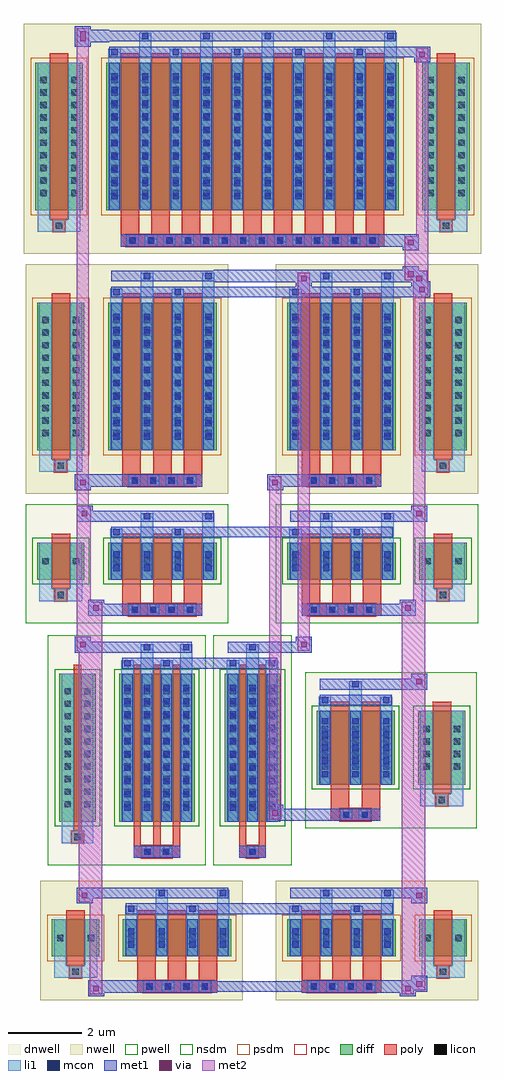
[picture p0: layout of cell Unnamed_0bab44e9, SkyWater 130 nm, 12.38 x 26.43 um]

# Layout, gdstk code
import gdstk
lib = gdstk.Library(unit=1e-6, precision=5e-09)
def R(c, l, rs):  # rectangles x0, y0, x1, y1
    for r in rs: c.add(gdstk.rectangle(r[:2], r[2:], *l))
def A(c, l, x, y, w, h, nx, ny, dx, dy):  # array of equal rectangles
    R(c, l, [(x+i*dx, y+j*dy, x+i*dx+w, y+j*dy+h) for i in range(nx) for j in range(ny)])
def P(c, l, *ps):  # polygons
    for p in ps: c.add(gdstk.Polygon(p, *l))
dnwell = (64, 18)
nwell = (64, 20)
pwell = (64, 44)
diff = (65, 20)
poly = (66, 20)
licon = (66, 44)
li1 = (67, 20)
mcon = (67, 44)
met1 = (68, 20)
via = (68, 44)
met2 = (69, 20)
nsdm = (93, 44)
psdm = (94, 20)
npc = (95, 20)

unnamed_437017c1 = lib.new_cell('Unnamed_437017c1')
R(unnamed_437017c1, nwell, [(-2.74,-1.61,2.74,1.615)])
R(unnamed_437017c1, diff, [(-2.43,-0.43,0.51,0.57), (1.15,-0.43,2.43,0.57)])
A(unnamed_437017c1, poly, -1.875, -1.41, 0.33, 0.33, 4, 1, 0.5, 0)
A(unnamed_437017c1, poly, -2.04, -1.08, 0.5, 0.4, 3, 1, 0.83, 0)
A(unnamed_437017c1, poly, -2.04, -0.68, 0.5, 1.5, 3, 1, 0.83, 0)
R(unnamed_437017c1, poly, [(-2.04,-1.41,0.12,-1.08), (1.625,-1.01,1.955,-0.68), (1.625,-1.01,1.955,-0.68), (1.54,-0.68,2.04,0.82)])
A(unnamed_437017c1, licon, -1.795, -1.33, 0.17, 0.17, 4, 1, 0.5, 0)
A(unnamed_437017c1, licon, -2.29, -0.015, 0.17, 0.17, 4, 1, 0.83, 0)
R(unnamed_437017c1, licon, [(1.705,-0.93,1.875,-0.76), (1.29,-0.015,1.46,0.155), (2.12,-0.015,2.29,0.155)])
A(unnamed_437017c1, li1, -1.875, -1.41, 0.33, 0.33, 4, 1, 0.5, 0)
A(unnamed_437017c1, li1, -2.37, -0.43, 0.33, 1, 4, 1, 0.83, 0)
A(unnamed_437017c1, li1, -2.29, -0.195, 0.17, 0.17, 4, 2, 0.83, 0.36)
A(unnamed_437017c1, li1, -2.29, -0.195, 0.17, 0.53, 4, 1, 0.83, 0)
A(unnamed_437017c1, li1, -2.37, -0.095, 0.33, 0.33, 4, 1, 0.83, 0)
R(unnamed_437017c1, li1, [(1.21,-1.01,1.625,-0.68), (1.21,-1.01,1.54,-0.43), (1.625,-1.01,1.955,-0.68), (1.955,-1.01,2.37,-0.68), (2.04,-1.01,2.37,-0.43), (1.21,-0.43,1.54,0.57), (2.04,-0.43,2.37,0.57), (1.21,-0.095,1.54,0.235), (2.04,-0.095,2.37,0.235), (-2.37,0.57,-2.04,0.945), (-1.54,0.57,-1.21,1.375), (-0.71,0.57,-0.38,0.945), (0.12,0.57,0.45,1.375), (-2.29,0.775,-2.12,0.945), (-0.63,0.775,-0.46,0.945), (-1.46,1.205,-1.29,1.375), (0.2,1.205,0.37,1.375)])
A(unnamed_437017c1, mcon, -1.795, -1.33, 0.17, 0.17, 4, 1, 0.5, 0)
A(unnamed_437017c1, mcon, -2.29, -0.195, 0.17, 0.17, 4, 2, 0.83, 0.36)
R(unnamed_437017c1, mcon, [(-2.29,0.775,-2.12,0.945), (-0.63,0.775,-0.46,0.945), (-1.46,1.205,-1.29,1.375), (0.2,1.205,0.37,1.375)])
A(unnamed_437017c1, met1, -1.855, -1.39, 0.29, 0.29, 4, 1, 0.5, 0)
A(unnamed_437017c1, met1, -2.35, -0.43, 0.29, 1, 4, 1, 0.83, 0)
A(unnamed_437017c1, met1, -2.35, -0.255, 0.29, 0.29, 4, 2, 0.83, 0.36)
R(unnamed_437017c1, met1, [(-2.04,-1.41,0.12,-1.08), (-2.35,0.715,-2.06,1.005), (-2.35,0.715,0.43,1.005), (-0.69,0.715,-0.4,1.005), (-2.35,1.145,0.43,1.435), (-1.52,1.145,-1.23,1.435), (0.14,1.145,0.43,1.435)])
R(unnamed_437017c1, psdm, [(-2.56,-0.56,0.64,0.7), (1.02,-0.56,2.56,0.7)])
A(unnamed_437017c1, npc, -1.895, -1.43, 0.37, 0.37, 4, 1, 0.5, 0)
R(unnamed_437017c1, npc, [(-1.895,-1.43,-1.025,-1.06), (-1.895,-1.43,-1.025,-1.06), (-1.395,-1.43,-0.525,-1.06), (-1.395,-1.43,-0.525,-1.06), (-0.895,-1.43,-0.025,-1.06), (-0.895,-1.43,-0.025,-1.06), (1.605,-1.03,1.975,-0.66)])

unnamed_8c51c6d4 = lib.new_cell('Unnamed_8c51c6d4')
R(unnamed_8c51c6d4, nwell, [(-2.74,-1.61,2.74,1.615)])
R(unnamed_8c51c6d4, diff, [(-2.43,-0.43,-1.15,0.57), (-0.51,-0.43,2.43,0.57)])
A(unnamed_8c51c6d4, poly, 0.045, -1.41, 0.33, 0.33, 4, 1, 0.5, 0)
A(unnamed_8c51c6d4, poly, -0.12, -1.08, 0.5, 0.4, 3, 1, 0.83, 0)
A(unnamed_8c51c6d4, poly, -0.12, -0.68, 0.5, 1.5, 3, 1, 0.83, 0)
R(unnamed_8c51c6d4, poly, [(-0.12,-1.41,2.04,-1.08), (-1.955,-1.01,-1.625,-0.68), (-1.955,-1.01,-1.625,-0.68), (-2.04,-0.68,-1.54,0.82)])
A(unnamed_8c51c6d4, licon, 0.125, -1.33, 0.17, 0.17, 4, 1, 0.5, 0)
A(unnamed_8c51c6d4, licon, -0.37, -0.015, 0.17, 0.17, 4, 1, 0.83, 0)
R(unnamed_8c51c6d4, licon, [(-1.875,-0.93,-1.705,-0.76), (-2.29,-0.015,-2.12,0.155), (-1.46,-0.015,-1.29,0.155)])
A(unnamed_8c51c6d4, li1, 0.045, -1.41, 0.33, 0.33, 4, 1, 0.5, 0)
A(unnamed_8c51c6d4, li1, -0.45, -0.43, 0.33, 1, 4, 1, 0.83, 0)
A(unnamed_8c51c6d4, li1, -0.37, -0.195, 0.17, 0.17, 4, 2, 0.83, 0.36)
A(unnamed_8c51c6d4, li1, -0.37, -0.195, 0.17, 0.53, 4, 1, 0.83, 0)
A(unnamed_8c51c6d4, li1, -0.45, -0.095, 0.33, 0.33, 4, 1, 0.83, 0)
R(unnamed_8c51c6d4, li1, [(-2.37,-1.01,-1.955,-0.68), (-2.37,-1.01,-2.04,-0.43), (-1.955,-1.01,-1.625,-0.68), (-1.625,-1.01,-1.21,-0.68), (-1.54,-1.01,-1.21,-0.43), (-2.37,-0.43,-2.04,0.57), (-1.54,-0.43,-1.21,0.57), (-2.37,-0.095,-2.04,0.235), (-1.54,-0.095,-1.21,0.235), (-0.45,0.57,-0.12,0.945), (0.38,0.57,0.71,1.375), (1.21,0.57,1.54,0.945), (2.04,0.57,2.37,1.375), (-0.37,0.775,-0.2,0.945), (1.29,0.775,1.46,0.945), (0.46,1.205,0.63,1.375), (2.12,1.205,2.29,1.375)])
A(unnamed_8c51c6d4, mcon, 0.125, -1.33, 0.17, 0.17, 4, 1, 0.5, 0)
A(unnamed_8c51c6d4, mcon, -0.37, -0.195, 0.17, 0.17, 4, 2, 0.83, 0.36)
R(unnamed_8c51c6d4, mcon, [(-0.37,0.775,-0.2,0.945), (1.29,0.775,1.46,0.945), (0.46,1.205,0.63,1.375), (2.12,1.205,2.29,1.375)])
A(unnamed_8c51c6d4, met1, 0.065, -1.39, 0.29, 0.29, 4, 1, 0.5, 0)
A(unnamed_8c51c6d4, met1, -0.43, -0.43, 0.29, 1, 4, 1, 0.83, 0)
A(unnamed_8c51c6d4, met1, -0.43, -0.255, 0.29, 0.29, 4, 2, 0.83, 0.36)
R(unnamed_8c51c6d4, met1, [(-0.12,-1.41,2.04,-1.08), (-0.43,0.715,-0.14,1.005), (-0.43,0.715,2.35,1.005), (1.23,0.715,1.52,1.005), (-0.43,1.145,2.35,1.435), (0.4,1.145,0.69,1.435), (2.06,1.145,2.35,1.435)])
R(unnamed_8c51c6d4, psdm, [(-2.56,-0.56,-1.02,0.7), (-0.64,-0.56,2.56,0.7)])
A(unnamed_8c51c6d4, npc, 0.025, -1.43, 0.37, 0.37, 4, 1, 0.5, 0)
R(unnamed_8c51c6d4, npc, [(0.025,-1.43,0.895,-1.06), (0.025,-1.43,0.895,-1.06), (0.525,-1.43,1.395,-1.06), (0.525,-1.43,1.395,-1.06), (1.025,-1.43,1.895,-1.06), (1.025,-1.43,1.895,-1.06), (-1.975,-1.03,-1.605,-0.66)])

unnamed_5b6dac4b = lib.new_cell('Unnamed_5b6dac4b')
R(unnamed_5b6dac4b, nwell, [(-6.19,-3.11,6.19,3.115)])
R(unnamed_5b6dac4b, diff, [(-5.88,-1.93,-4.6,2.07), (-3.96,-1.93,3.96,2.07), (4.6,-1.93,5.88,2.07)])
A(unnamed_5b6dac4b, poly, -3.415, -2.91, 0.33, 0.33, 14, 1, 0.5, 0)
A(unnamed_5b6dac4b, poly, -3.57, -2.58, 0.5, 0.4, 9, 1, 0.83, 0)
A(unnamed_5b6dac4b, poly, -3.57, -2.18, 0.5, 4.5, 9, 1, 0.83, 0)
R(unnamed_5b6dac4b, poly, [(-3.57,-2.91,3.57,-2.58), (-5.405,-2.51,-5.075,-2.18), (-5.405,-2.51,-5.075,-2.18), (5.075,-2.51,5.405,-2.18), (5.075,-2.51,5.405,-2.18), (-5.49,-2.18,-4.99,2.32), (4.99,-2.18,5.49,2.32)])
A(unnamed_5b6dac4b, licon, -3.335, -2.83, 0.17, 0.17, 14, 1, 0.5, 0)
A(unnamed_5b6dac4b, licon, -5.74, -1.545, 0.17, 0.17, 1, 10, 0, 0.34)
A(unnamed_5b6dac4b, licon, -4.91, -1.545, 0.17, 0.17, 1, 10, 0, 0.34)
A(unnamed_5b6dac4b, licon, -3.82, -1.545, 0.17, 0.17, 10, 10, 0.83, 0.34)
A(unnamed_5b6dac4b, licon, 4.74, -1.545, 0.17, 0.17, 1, 10, 0, 0.34)
A(unnamed_5b6dac4b, licon, 5.57, -1.545, 0.17, 0.17, 1, 10, 0, 0.34)
R(unnamed_5b6dac4b, licon, [(-5.325,-2.43,-5.155,-2.26), (5.155,-2.43,5.325,-2.26)])
A(unnamed_5b6dac4b, li1, -3.415, -2.91, 0.33, 0.33, 14, 1, 0.5, 0)
A(unnamed_5b6dac4b, li1, -3.9, -1.93, 0.33, 4, 10, 1, 0.83, 0)
A(unnamed_5b6dac4b, li1, -3.82, -1.635, 0.17, 0.17, 10, 10, 0.83, 0.36)
A(unnamed_5b6dac4b, li1, -3.82, -1.635, 0.17, 3.41, 10, 1, 0.83, 0)
A(unnamed_5b6dac4b, li1, -5.82, -1.625, 0.33, 0.33, 1, 10, 0, 0.34)
A(unnamed_5b6dac4b, li1, -4.99, -1.625, 0.33, 0.33, 1, 10, 0, 0.34)
A(unnamed_5b6dac4b, li1, -3.9, -1.625, 0.33, 0.33, 10, 10, 0.83, 0.34)
A(unnamed_5b6dac4b, li1, 4.66, -1.625, 0.33, 0.33, 1, 10, 0, 0.34)
A(unnamed_5b6dac4b, li1, 5.49, -1.625, 0.33, 0.33, 1, 10, 0, 0.34)
A(unnamed_5b6dac4b, li1, -3.9, 2.07, 0.33, 0.375, 5, 1, 1.66, 0)
A(unnamed_5b6dac4b, li1, -3.07, 2.07, 0.33, 0.805, 5, 1, 1.66, 0)
A(unnamed_5b6dac4b, li1, -3.82, 2.275, 0.17, 0.17, 5, 1, 1.66, 0)
A(unnamed_5b6dac4b, li1, -2.99, 2.705, 0.17, 0.17, 5, 1, 1.66, 0)
R(unnamed_5b6dac4b, li1, [(-5.82,-2.51,-5.405,-2.18), (-5.82,-2.51,-5.49,-1.93), (-5.405,-2.51,-5.075,-2.18), (-5.075,-2.51,-4.66,-2.18), (-4.99,-2.51,-4.66,-1.93), (4.66,-2.51,5.075,-2.18), (4.66,-2.51,4.99,-1.93), (5.075,-2.51,5.405,-2.18), (5.405,-2.51,5.82,-2.18), (5.49,-2.51,5.82,-1.93), (-5.82,-1.93,-5.49,2.07), (-4.99,-1.93,-4.66,2.07), (4.66,-1.93,4.99,2.07), (5.49,-1.93,5.82,2.07)])
A(unnamed_5b6dac4b, mcon, -3.335, -2.83, 0.17, 0.17, 14, 1, 0.5, 0)
A(unnamed_5b6dac4b, mcon, -3.82, -1.635, 0.17, 0.17, 10, 10, 0.83, 0.36)
A(unnamed_5b6dac4b, mcon, -3.82, 2.275, 0.17, 0.17, 5, 1, 1.66, 0)
A(unnamed_5b6dac4b, mcon, -2.99, 2.705, 0.17, 0.17, 5, 1, 1.66, 0)
A(unnamed_5b6dac4b, met1, -3.395, -2.89, 0.29, 0.29, 14, 1, 0.5, 0)
A(unnamed_5b6dac4b, met1, -3.88, -1.93, 0.29, 4, 10, 1, 0.83, 0)
A(unnamed_5b6dac4b, met1, -3.88, -1.695, 0.29, 0.29, 10, 10, 0.83, 0.36)
A(unnamed_5b6dac4b, met1, -3.88, 2.215, 0.29, 0.29, 5, 1, 1.66, 0)
A(unnamed_5b6dac4b, met1, -3.05, 2.645, 0.29, 0.29, 5, 1, 1.66, 0)
R(unnamed_5b6dac4b, met1, [(-3.57,-2.91,3.57,-2.58), (-3.88,2.215,3.88,2.505), (-3.88,2.645,3.88,2.935)])
R(unnamed_5b6dac4b, psdm, [(-6.01,-2.06,-4.47,2.2), (-4.09,-2.06,4.09,2.2), (4.47,-2.06,6.01,2.2)])
A(unnamed_5b6dac4b, npc, -3.435, -2.93, 0.37, 0.37, 14, 1, 0.5, 0)
R(unnamed_5b6dac4b, npc, [(-3.435,-2.93,-2.565,-2.56), (-3.435,-2.93,-2.565,-2.56), (-2.935,-2.93,-2.065,-2.56), (-2.935,-2.93,-2.065,-2.56), (-2.435,-2.93,-1.565,-2.56), (-2.435,-2.93,-1.565,-2.56), (-1.935,-2.93,-1.065,-2.56), (-1.935,-2.93,-1.065,-2.56), (-1.435,-2.93,-0.565,-2.56), (-1.435,-2.93,-0.565,-2.56), (-0.935,-2.93,-0.065,-2.56), (-0.935,-2.93,-0.065,-2.56), (-0.435,-2.93,0.435,-2.56), (-0.435,-2.93,0.435,-2.56), (0.065,-2.93,0.935,-2.56), (0.065,-2.93,0.935,-2.56), (0.565,-2.93,1.435,-2.56), (0.565,-2.93,1.435,-2.56), (1.065,-2.93,1.935,-2.56), (1.065,-2.93,1.935,-2.56), (1.565,-2.93,2.435,-2.56), (1.565,-2.93,2.435,-2.56), (2.065,-2.93,2.935,-2.56), (2.065,-2.93,2.935,-2.56), (2.565,-2.93,3.435,-2.56), (2.565,-2.93,3.435,-2.56), (-5.425,-2.53,-5.055,-2.16), (5.055,-2.53,5.425,-2.16)])

unnamed_7eadcfe6 = lib.new_cell('Unnamed_7eadcfe6')
R(unnamed_7eadcfe6, nwell, [(-2.74,-3.11,2.74,3.115)])
R(unnamed_7eadcfe6, diff, [(-2.43,-1.93,-1.15,2.07), (-0.51,-1.93,2.43,2.07)])
A(unnamed_7eadcfe6, poly, 0.045, -2.91, 0.33, 0.33, 4, 1, 0.5, 0)
A(unnamed_7eadcfe6, poly, -0.12, -2.58, 0.5, 0.4, 3, 1, 0.83, 0)
A(unnamed_7eadcfe6, poly, -0.12, -2.18, 0.5, 4.5, 3, 1, 0.83, 0)
R(unnamed_7eadcfe6, poly, [(-0.12,-2.91,2.04,-2.58), (-1.955,-2.51,-1.625,-2.18), (-1.955,-2.51,-1.625,-2.18), (-2.04,-2.18,-1.54,2.32)])
A(unnamed_7eadcfe6, licon, 0.125, -2.83, 0.17, 0.17, 4, 1, 0.5, 0)
A(unnamed_7eadcfe6, licon, -2.29, -1.545, 0.17, 0.17, 1, 10, 0, 0.34)
A(unnamed_7eadcfe6, licon, -1.46, -1.545, 0.17, 0.17, 1, 10, 0, 0.34)
A(unnamed_7eadcfe6, licon, -0.37, -1.545, 0.17, 0.17, 4, 10, 0.83, 0.34)
R(unnamed_7eadcfe6, licon, [(-1.875,-2.43,-1.705,-2.26)])
A(unnamed_7eadcfe6, li1, 0.045, -2.91, 0.33, 0.33, 4, 1, 0.5, 0)
A(unnamed_7eadcfe6, li1, -0.45, -1.93, 0.33, 4, 4, 1, 0.83, 0)
A(unnamed_7eadcfe6, li1, -0.37, -1.635, 0.17, 0.17, 4, 10, 0.83, 0.36)
A(unnamed_7eadcfe6, li1, -0.37, -1.635, 0.17, 3.41, 4, 1, 0.83, 0)
A(unnamed_7eadcfe6, li1, -2.37, -1.625, 0.33, 0.33, 1, 10, 0, 0.34)
A(unnamed_7eadcfe6, li1, -1.54, -1.625, 0.33, 0.33, 1, 10, 0, 0.34)
A(unnamed_7eadcfe6, li1, -0.45, -1.625, 0.33, 0.33, 4, 10, 0.83, 0.34)
R(unnamed_7eadcfe6, li1, [(-2.37,-2.51,-1.955,-2.18), (-2.37,-2.51,-2.04,-1.93), (-1.955,-2.51,-1.625,-2.18), (-1.625,-2.51,-1.21,-2.18), (-1.54,-2.51,-1.21,-1.93), (-2.37,-1.93,-2.04,2.07), (-1.54,-1.93,-1.21,2.07), (-0.45,2.07,-0.12,2.445), (0.38,2.07,0.71,2.875), (1.21,2.07,1.54,2.445), (2.04,2.07,2.37,2.875), (-0.37,2.275,-0.2,2.445), (1.29,2.275,1.46,2.445), (0.46,2.705,0.63,2.875), (2.12,2.705,2.29,2.875)])
A(unnamed_7eadcfe6, mcon, 0.125, -2.83, 0.17, 0.17, 4, 1, 0.5, 0)
A(unnamed_7eadcfe6, mcon, -0.37, -1.635, 0.17, 0.17, 4, 10, 0.83, 0.36)
R(unnamed_7eadcfe6, mcon, [(-0.37,2.275,-0.2,2.445), (1.29,2.275,1.46,2.445), (0.46,2.705,0.63,2.875), (2.12,2.705,2.29,2.875)])
A(unnamed_7eadcfe6, met1, 0.065, -2.89, 0.29, 0.29, 4, 1, 0.5, 0)
A(unnamed_7eadcfe6, met1, -0.43, -1.93, 0.29, 4, 4, 1, 0.83, 0)
A(unnamed_7eadcfe6, met1, -0.43, -1.695, 0.29, 0.29, 4, 10, 0.83, 0.36)
R(unnamed_7eadcfe6, met1, [(-0.12,-2.91,2.04,-2.58), (-0.43,2.215,-0.14,2.505), (-0.43,2.215,2.35,2.505), (1.23,2.215,1.52,2.505), (-0.43,2.645,2.35,2.935), (0.4,2.645,0.69,2.935), (2.06,2.645,2.35,2.935)])
R(unnamed_7eadcfe6, psdm, [(-2.56,-2.06,-1.02,2.2), (-0.64,-2.06,2.56,2.2)])
A(unnamed_7eadcfe6, npc, 0.025, -2.93, 0.37, 0.37, 4, 1, 0.5, 0)
R(unnamed_7eadcfe6, npc, [(0.025,-2.93,0.895,-2.56), (0.025,-2.93,0.895,-2.56), (0.525,-2.93,1.395,-2.56), (0.525,-2.93,1.395,-2.56), (1.025,-2.93,1.895,-2.56), (1.025,-2.93,1.895,-2.56), (-1.975,-2.53,-1.605,-2.16)])

unnamed_24d898cb = lib.new_cell('Unnamed_24d898cb')
R(unnamed_24d898cb, nwell, [(-2.74,-3.11,2.74,3.115)])
R(unnamed_24d898cb, diff, [(-2.43,-1.93,0.51,2.07), (1.15,-1.93,2.43,2.07)])
A(unnamed_24d898cb, poly, -1.875, -2.91, 0.33, 0.33, 4, 1, 0.5, 0)
A(unnamed_24d898cb, poly, -2.04, -2.58, 0.5, 0.4, 3, 1, 0.83, 0)
A(unnamed_24d898cb, poly, -2.04, -2.18, 0.5, 4.5, 3, 1, 0.83, 0)
R(unnamed_24d898cb, poly, [(-2.04,-2.91,0.12,-2.58), (1.625,-2.51,1.955,-2.18), (1.625,-2.51,1.955,-2.18), (1.54,-2.18,2.04,2.32)])
A(unnamed_24d898cb, licon, -1.795, -2.83, 0.17, 0.17, 4, 1, 0.5, 0)
A(unnamed_24d898cb, licon, -2.29, -1.545, 0.17, 0.17, 4, 10, 0.83, 0.34)
A(unnamed_24d898cb, licon, 1.29, -1.545, 0.17, 0.17, 1, 10, 0, 0.34)
A(unnamed_24d898cb, licon, 2.12, -1.545, 0.17, 0.17, 1, 10, 0, 0.34)
R(unnamed_24d898cb, licon, [(1.705,-2.43,1.875,-2.26)])
A(unnamed_24d898cb, li1, -1.875, -2.91, 0.33, 0.33, 4, 1, 0.5, 0)
A(unnamed_24d898cb, li1, -2.37, -1.93, 0.33, 4, 4, 1, 0.83, 0)
A(unnamed_24d898cb, li1, -2.29, -1.635, 0.17, 0.17, 4, 10, 0.83, 0.36)
A(unnamed_24d898cb, li1, -2.29, -1.635, 0.17, 3.41, 4, 1, 0.83, 0)
A(unnamed_24d898cb, li1, -2.37, -1.625, 0.33, 0.33, 4, 10, 0.83, 0.34)
A(unnamed_24d898cb, li1, 1.21, -1.625, 0.33, 0.33, 1, 10, 0, 0.34)
A(unnamed_24d898cb, li1, 2.04, -1.625, 0.33, 0.33, 1, 10, 0, 0.34)
R(unnamed_24d898cb, li1, [(1.21,-2.51,1.625,-2.18), (1.21,-2.51,1.54,-1.93), (1.625,-2.51,1.955,-2.18), (1.955,-2.51,2.37,-2.18), (2.04,-2.51,2.37,-1.93), (1.21,-1.93,1.54,2.07), (2.04,-1.93,2.37,2.07), (-2.37,2.07,-2.04,2.445), (-1.54,2.07,-1.21,2.875), (-0.71,2.07,-0.38,2.445), (0.12,2.07,0.45,2.875), (-2.29,2.275,-2.12,2.445), (-0.63,2.275,-0.46,2.445), (-1.46,2.705,-1.29,2.875), (0.2,2.705,0.37,2.875)])
A(unnamed_24d898cb, mcon, -1.795, -2.83, 0.17, 0.17, 4, 1, 0.5, 0)
A(unnamed_24d898cb, mcon, -2.29, -1.635, 0.17, 0.17, 4, 10, 0.83, 0.36)
R(unnamed_24d898cb, mcon, [(-2.29,2.275,-2.12,2.445), (-0.63,2.275,-0.46,2.445), (-1.46,2.705,-1.29,2.875), (0.2,2.705,0.37,2.875)])
A(unnamed_24d898cb, met1, -1.855, -2.89, 0.29, 0.29, 4, 1, 0.5, 0)
A(unnamed_24d898cb, met1, -2.35, -1.93, 0.29, 4, 4, 1, 0.83, 0)
A(unnamed_24d898cb, met1, -2.35, -1.695, 0.29, 0.29, 4, 10, 0.83, 0.36)
R(unnamed_24d898cb, met1, [(-2.04,-2.91,0.12,-2.58), (-2.35,2.215,-2.06,2.505), (-2.35,2.215,0.43,2.505), (-0.69,2.215,-0.4,2.505), (-2.35,2.645,0.43,2.935), (-1.52,2.645,-1.23,2.935), (0.14,2.645,0.43,2.935)])
R(unnamed_24d898cb, psdm, [(-2.56,-2.06,0.64,2.2), (1.02,-2.06,2.56,2.2)])
A(unnamed_24d898cb, npc, -1.895, -2.93, 0.37, 0.37, 4, 1, 0.5, 0)
R(unnamed_24d898cb, npc, [(-1.895,-2.93,-1.025,-2.56), (-1.895,-2.93,-1.025,-2.56), (-1.395,-2.93,-0.525,-2.56), (-1.395,-2.93,-0.525,-2.56), (-0.895,-2.93,-0.025,-2.56), (-0.895,-2.93,-0.025,-2.56), (1.605,-2.53,1.975,-2.16)])

unnamed_885ce8a8 = lib.new_cell('Unnamed_885ce8a8')
R(unnamed_885ce8a8, dnwell, [(-2.74,-1.61,2.74,1.615)])
R(unnamed_885ce8a8, pwell, [(-2.74,-1.61,2.74,1.615)])
R(unnamed_885ce8a8, diff, [(-2.43,-0.43,0.51,0.57), (1.15,-0.43,2.43,0.57)])
A(unnamed_885ce8a8, poly, -1.875, -1.41, 0.33, 0.33, 4, 1, 0.5, 0)
A(unnamed_885ce8a8, poly, -2.04, -1.08, 0.5, 0.4, 3, 1, 0.83, 0)
A(unnamed_885ce8a8, poly, -2.04, -0.68, 0.5, 1.5, 3, 1, 0.83, 0)
R(unnamed_885ce8a8, poly, [(-2.04,-1.41,0.12,-1.08), (1.625,-1.01,1.955,-0.68), (1.625,-1.01,1.955,-0.68), (1.54,-0.68,2.04,0.82)])
A(unnamed_885ce8a8, licon, -1.795, -1.33, 0.17, 0.17, 4, 1, 0.5, 0)
A(unnamed_885ce8a8, licon, -2.29, -0.015, 0.17, 0.17, 4, 1, 0.83, 0)
R(unnamed_885ce8a8, licon, [(1.705,-0.93,1.875,-0.76), (1.29,-0.015,1.46,0.155), (2.12,-0.015,2.29,0.155)])
A(unnamed_885ce8a8, li1, -1.875, -1.41, 0.33, 0.33, 4, 1, 0.5, 0)
A(unnamed_885ce8a8, li1, -2.37, -0.43, 0.33, 1, 4, 1, 0.83, 0)
A(unnamed_885ce8a8, li1, -2.29, -0.195, 0.17, 0.17, 4, 2, 0.83, 0.36)
A(unnamed_885ce8a8, li1, -2.29, -0.195, 0.17, 0.53, 4, 1, 0.83, 0)
A(unnamed_885ce8a8, li1, -2.37, -0.095, 0.33, 0.33, 4, 1, 0.83, 0)
R(unnamed_885ce8a8, li1, [(1.21,-1.01,1.625,-0.68), (1.21,-1.01,1.54,-0.43), (1.625,-1.01,1.955,-0.68), (1.955,-1.01,2.37,-0.68), (2.04,-1.01,2.37,-0.43), (1.21,-0.43,1.54,0.57), (2.04,-0.43,2.37,0.57), (1.21,-0.095,1.54,0.235), (2.04,-0.095,2.37,0.235), (-2.37,0.57,-2.04,0.945), (-1.54,0.57,-1.21,1.375), (-0.71,0.57,-0.38,0.945), (0.12,0.57,0.45,1.375), (-2.29,0.775,-2.12,0.945), (-0.63,0.775,-0.46,0.945), (-1.46,1.205,-1.29,1.375), (0.2,1.205,0.37,1.375)])
A(unnamed_885ce8a8, mcon, -1.795, -1.33, 0.17, 0.17, 4, 1, 0.5, 0)
A(unnamed_885ce8a8, mcon, -2.29, -0.195, 0.17, 0.17, 4, 2, 0.83, 0.36)
R(unnamed_885ce8a8, mcon, [(-2.29,0.775,-2.12,0.945), (-0.63,0.775,-0.46,0.945), (-1.46,1.205,-1.29,1.375), (0.2,1.205,0.37,1.375)])
A(unnamed_885ce8a8, met1, -1.855, -1.39, 0.29, 0.29, 4, 1, 0.5, 0)
A(unnamed_885ce8a8, met1, -2.35, -0.43, 0.29, 1, 4, 1, 0.83, 0)
A(unnamed_885ce8a8, met1, -2.35, -0.255, 0.29, 0.29, 4, 2, 0.83, 0.36)
R(unnamed_885ce8a8, met1, [(-2.04,-1.41,0.12,-1.08), (-2.35,0.715,-2.06,1.005), (-2.35,0.715,0.43,1.005), (-0.69,0.715,-0.4,1.005), (-2.35,1.145,0.43,1.435), (-1.52,1.145,-1.23,1.435), (0.14,1.145,0.43,1.435)])
R(unnamed_885ce8a8, nsdm, [(-2.56,-0.56,0.64,0.7), (1.02,-0.56,2.56,0.7)])
A(unnamed_885ce8a8, npc, -1.895, -1.43, 0.37, 0.37, 4, 1, 0.5, 0)
R(unnamed_885ce8a8, npc, [(-1.895,-1.43,-1.025,-1.06), (-1.895,-1.43,-1.025,-1.06), (-1.395,-1.43,-0.525,-1.06), (-1.395,-1.43,-0.525,-1.06), (-0.895,-1.43,-0.025,-1.06), (-0.895,-1.43,-0.025,-1.06), (1.605,-1.03,1.975,-0.66)])

unnamed_369809fc = lib.new_cell('Unnamed_369809fc')
R(unnamed_369809fc, dnwell, [(-2.74,-1.61,2.74,1.615)])
R(unnamed_369809fc, pwell, [(-2.74,-1.61,2.74,1.615)])
R(unnamed_369809fc, diff, [(-2.43,-0.43,-1.15,0.57), (-0.51,-0.43,2.43,0.57)])
A(unnamed_369809fc, poly, 0.045, -1.41, 0.33, 0.33, 4, 1, 0.5, 0)
A(unnamed_369809fc, poly, -0.12, -1.08, 0.5, 0.4, 3, 1, 0.83, 0)
A(unnamed_369809fc, poly, -0.12, -0.68, 0.5, 1.5, 3, 1, 0.83, 0)
R(unnamed_369809fc, poly, [(-0.12,-1.41,2.04,-1.08), (-1.955,-1.01,-1.625,-0.68), (-1.955,-1.01,-1.625,-0.68), (-2.04,-0.68,-1.54,0.82)])
A(unnamed_369809fc, licon, 0.125, -1.33, 0.17, 0.17, 4, 1, 0.5, 0)
A(unnamed_369809fc, licon, -0.37, -0.015, 0.17, 0.17, 4, 1, 0.83, 0)
R(unnamed_369809fc, licon, [(-1.875,-0.93,-1.705,-0.76), (-2.29,-0.015,-2.12,0.155), (-1.46,-0.015,-1.29,0.155)])
A(unnamed_369809fc, li1, 0.045, -1.41, 0.33, 0.33, 4, 1, 0.5, 0)
A(unnamed_369809fc, li1, -0.45, -0.43, 0.33, 1, 4, 1, 0.83, 0)
A(unnamed_369809fc, li1, -0.37, -0.195, 0.17, 0.17, 4, 2, 0.83, 0.36)
A(unnamed_369809fc, li1, -0.37, -0.195, 0.17, 0.53, 4, 1, 0.83, 0)
A(unnamed_369809fc, li1, -0.45, -0.095, 0.33, 0.33, 4, 1, 0.83, 0)
R(unnamed_369809fc, li1, [(-2.37,-1.01,-1.955,-0.68), (-2.37,-1.01,-2.04,-0.43), (-1.955,-1.01,-1.625,-0.68), (-1.625,-1.01,-1.21,-0.68), (-1.54,-1.01,-1.21,-0.43), (-2.37,-0.43,-2.04,0.57), (-1.54,-0.43,-1.21,0.57), (-2.37,-0.095,-2.04,0.235), (-1.54,-0.095,-1.21,0.235), (-0.45,0.57,-0.12,0.945), (0.38,0.57,0.71,1.375), (1.21,0.57,1.54,0.945), (2.04,0.57,2.37,1.375), (-0.37,0.775,-0.2,0.945), (1.29,0.775,1.46,0.945), (0.46,1.205,0.63,1.375), (2.12,1.205,2.29,1.375)])
A(unnamed_369809fc, mcon, 0.125, -1.33, 0.17, 0.17, 4, 1, 0.5, 0)
A(unnamed_369809fc, mcon, -0.37, -0.195, 0.17, 0.17, 4, 2, 0.83, 0.36)
R(unnamed_369809fc, mcon, [(-0.37,0.775,-0.2,0.945), (1.29,0.775,1.46,0.945), (0.46,1.205,0.63,1.375), (2.12,1.205,2.29,1.375)])
A(unnamed_369809fc, met1, 0.065, -1.39, 0.29, 0.29, 4, 1, 0.5, 0)
A(unnamed_369809fc, met1, -0.43, -0.43, 0.29, 1, 4, 1, 0.83, 0)
A(unnamed_369809fc, met1, -0.43, -0.255, 0.29, 0.29, 4, 2, 0.83, 0.36)
R(unnamed_369809fc, met1, [(-0.12,-1.41,2.04,-1.08), (-0.43,0.715,-0.14,1.005), (-0.43,0.715,2.35,1.005), (1.23,0.715,1.52,1.005), (-0.43,1.145,2.35,1.435), (0.4,1.145,0.69,1.435), (2.06,1.145,2.35,1.435)])
R(unnamed_369809fc, nsdm, [(-2.56,-0.56,-1.02,0.7), (-0.64,-0.56,2.56,0.7)])
A(unnamed_369809fc, npc, 0.025, -1.43, 0.37, 0.37, 4, 1, 0.5, 0)
R(unnamed_369809fc, npc, [(0.025,-1.43,0.895,-1.06), (0.025,-1.43,0.895,-1.06), (0.525,-1.43,1.395,-1.06), (0.525,-1.43,1.395,-1.06), (1.025,-1.43,1.895,-1.06), (1.025,-1.43,1.895,-1.06), (-1.975,-1.03,-1.605,-0.66)])

unnamed_5aa869f9 = lib.new_cell('Unnamed_5aa869f9')
R(unnamed_5aa869f9, dnwell, [(-2.14,-3.11,2.14,3.115)])
R(unnamed_5aa869f9, pwell, [(-2.14,-3.11,2.14,3.115)])
R(unnamed_5aa869f9, diff, [(-1.83,-1.93,-0.85,2.07), (-0.21,-1.93,1.83,2.07)])
A(unnamed_5aa869f9, poly, 0.18, -2.58, 0.2, 0.4, 3, 1, 0.53, 0)
A(unnamed_5aa869f9, poly, 0.18, -2.18, 0.2, 4.5, 3, 1, 0.53, 0)
R(unnamed_5aa869f9, poly, [(0.18,-2.91,1.44,-2.58), (0.395,-2.91,0.725,-2.58), (0.895,-2.91,1.225,-2.58), (-1.505,-2.51,-1.175,-2.18), (-1.505,-2.51,-1.175,-2.18), (-1.44,-2.18,-1.24,2.32)])
A(unnamed_5aa869f9, licon, -1.69, -1.545, 0.17, 0.17, 1, 10, 0, 0.34)
A(unnamed_5aa869f9, licon, -1.16, -1.545, 0.17, 0.17, 1, 10, 0, 0.34)
A(unnamed_5aa869f9, licon, -0.07, -1.545, 0.17, 0.17, 4, 10, 0.53, 0.34)
R(unnamed_5aa869f9, licon, [(0.475,-2.83,0.645,-2.66), (0.975,-2.83,1.145,-2.66), (-1.425,-2.43,-1.255,-2.26)])
A(unnamed_5aa869f9, li1, -0.15, -1.93, 0.33, 4, 4, 1, 0.53, 0)
A(unnamed_5aa869f9, li1, -0.07, -1.635, 0.17, 0.17, 4, 10, 0.53, 0.36)
A(unnamed_5aa869f9, li1, -0.07, -1.635, 0.17, 3.41, 4, 1, 0.53, 0)
A(unnamed_5aa869f9, li1, -1.77, -1.625, 0.33, 0.33, 1, 10, 0, 0.34)
A(unnamed_5aa869f9, li1, -1.24, -1.625, 0.33, 0.33, 1, 10, 0, 0.34)
A(unnamed_5aa869f9, li1, -0.15, -1.625, 0.33, 0.33, 4, 10, 0.53, 0.34)
R(unnamed_5aa869f9, li1, [(0.395,-2.91,0.725,-2.58), (0.895,-2.91,1.225,-2.58), (-1.77,-2.51,-1.505,-2.18), (-1.77,-2.51,-1.44,-1.93), (-1.505,-2.51,-1.175,-2.18), (-1.24,-2.51,-0.91,-1.93), (-1.175,-2.51,-0.91,-2.18), (-1.77,-1.93,-1.44,2.07), (-1.24,-1.93,-0.91,2.07), (-0.15,2.07,0.18,2.445), (0.38,2.07,0.71,2.875), (0.91,2.07,1.24,2.445), (1.44,2.07,1.77,2.875), (-0.07,2.275,0.1,2.445), (0.99,2.275,1.16,2.445), (0.46,2.705,0.63,2.875), (1.52,2.705,1.69,2.875)])
A(unnamed_5aa869f9, mcon, -0.07, -1.635, 0.17, 0.17, 4, 10, 0.53, 0.36)
R(unnamed_5aa869f9, mcon, [(0.475,-2.83,0.645,-2.66), (0.975,-2.83,1.145,-2.66), (-0.07,2.275,0.1,2.445), (0.99,2.275,1.16,2.445), (0.46,2.705,0.63,2.875), (1.52,2.705,1.69,2.875)])
A(unnamed_5aa869f9, met1, -0.13, -1.93, 0.29, 4, 4, 1, 0.53, 0)
A(unnamed_5aa869f9, met1, -0.13, -1.695, 0.29, 0.29, 4, 10, 0.53, 0.36)
R(unnamed_5aa869f9, met1, [(0.18,-2.91,1.44,-2.58), (0.415,-2.89,0.705,-2.6), (0.915,-2.89,1.205,-2.6), (-0.13,2.215,0.16,2.505), (-0.13,2.215,1.75,2.505), (0.93,2.215,1.22,2.505), (-0.13,2.645,1.75,2.935), (0.4,2.645,0.69,2.935), (1.46,2.645,1.75,2.935)])
R(unnamed_5aa869f9, nsdm, [(-1.96,-2.06,-0.72,2.2), (-0.34,-2.06,1.96,2.2)])
R(unnamed_5aa869f9, npc, [(0.375,-2.93,0.745,-2.56), (0.375,-2.93,1.245,-2.56), (0.375,-2.93,1.245,-2.56), (0.875,-2.93,1.245,-2.56), (-1.525,-2.53,-1.155,-2.16)])

unnamed_cba84e64 = lib.new_cell('Unnamed_cba84e64')
R(unnamed_cba84e64, dnwell, [(-1.065,-3.11,1.065,3.115)])
R(unnamed_cba84e64, pwell, [(-1.065,-3.11,1.065,3.115)])
R(unnamed_cba84e64, diff, [(-0.755,-1.93,0.755,2.07)])
R(unnamed_cba84e64, poly, [(-0.365,-2.91,0.365,-2.58), (-0.165,-2.91,0.165,-2.58), (-0.365,-2.58,-0.165,-2.18), (0.165,-2.58,0.365,-2.18), (-0.365,-2.18,-0.165,2.32), (0.165,-2.18,0.365,2.32)])
A(unnamed_cba84e64, licon, -0.615, -1.545, 0.17, 0.17, 3, 10, 0.53, 0.34)
R(unnamed_cba84e64, licon, [(-0.085,-2.83,0.085,-2.66)])
A(unnamed_cba84e64, li1, -0.695, -1.93, 0.33, 4, 3, 1, 0.53, 0)
A(unnamed_cba84e64, li1, -0.615, -1.635, 0.17, 0.17, 3, 10, 0.53, 0.36)
A(unnamed_cba84e64, li1, -0.615, -1.635, 0.17, 3.41, 3, 1, 0.53, 0)
A(unnamed_cba84e64, li1, -0.695, -1.625, 0.33, 0.33, 3, 10, 0.53, 0.34)
R(unnamed_cba84e64, li1, [(-0.165,-2.91,0.165,-2.58), (-0.695,2.07,-0.365,2.445), (-0.165,2.07,0.165,2.875), (0.365,2.07,0.695,2.445), (-0.615,2.275,-0.445,2.445), (0.445,2.275,0.615,2.445), (-0.085,2.705,0.085,2.875)])
A(unnamed_cba84e64, mcon, -0.615, -1.635, 0.17, 0.17, 3, 10, 0.53, 0.36)
R(unnamed_cba84e64, mcon, [(-0.085,-2.83,0.085,-2.66), (-0.615,2.275,-0.445,2.445), (0.445,2.275,0.615,2.445), (-0.085,2.705,0.085,2.875)])
A(unnamed_cba84e64, met1, -0.675, -1.93, 0.29, 4, 3, 1, 0.53, 0)
A(unnamed_cba84e64, met1, -0.675, -1.695, 0.29, 0.29, 3, 10, 0.53, 0.36)
R(unnamed_cba84e64, met1, [(-0.365,-2.91,0.365,-2.58), (-0.145,-2.89,0.145,-2.6), (-0.675,2.215,-0.385,2.505), (-0.675,2.215,0.675,2.505), (0.385,2.215,0.675,2.505), (-0.675,2.645,0.675,2.935), (-0.145,2.645,0.145,2.935)])
R(unnamed_cba84e64, nsdm, [(-0.885,-2.06,0.885,2.2)])
R(unnamed_cba84e64, npc, [(-0.185,-2.93,0.185,-2.56), (-0.185,-2.93,0.185,-2.56)])

unnamed_779779da = lib.new_cell('Unnamed_779779da')
R(unnamed_779779da, dnwell, [(-2.325,-2.11,2.325,2.115)])
R(unnamed_779779da, pwell, [(-2.325,-2.11,2.325,2.115)])
R(unnamed_779779da, diff, [(-2.015,-0.93,0.095,1.07), (0.735,-0.93,2.015,1.07)])
R(unnamed_779779da, poly, [(-1.625,-1.91,-0.295,-1.58), (-1.375,-1.91,-1.045,-1.58), (-0.875,-1.91,-0.545,-1.58), (-1.625,-1.58,-1.125,-1.18), (-0.795,-1.58,-0.295,-1.18), (1.21,-1.51,1.54,-1.18), (1.21,-1.51,1.54,-1.18), (-1.625,-1.18,-1.125,1.32), (-0.795,-1.18,-0.295,1.32), (1.125,-1.18,1.625,1.32)])
A(unnamed_779779da, licon, -1.875, -0.525, 0.17, 0.17, 3, 4, 0.83, 0.34)
A(unnamed_779779da, licon, 0.875, -0.525, 0.17, 0.17, 1, 4, 0, 0.34)
A(unnamed_779779da, licon, 1.705, -0.525, 0.17, 0.17, 1, 4, 0, 0.34)
R(unnamed_779779da, licon, [(-1.295,-1.83,-1.125,-1.66), (-0.795,-1.83,-0.625,-1.66), (1.29,-1.43,1.46,-1.26)])
A(unnamed_779779da, li1, -1.955, -0.93, 0.33, 2, 3, 1, 0.83, 0)
A(unnamed_779779da, li1, -1.875, -0.735, 0.17, 0.17, 3, 5, 0.83, 0.36)
A(unnamed_779779da, li1, -1.875, -0.735, 0.17, 1.61, 3, 1, 0.83, 0)
A(unnamed_779779da, li1, -1.955, -0.605, 0.33, 0.33, 3, 4, 0.83, 0.34)
A(unnamed_779779da, li1, 0.795, -0.605, 0.33, 0.33, 1, 4, 0, 0.34)
A(unnamed_779779da, li1, 1.625, -0.605, 0.33, 0.33, 1, 4, 0, 0.34)
R(unnamed_779779da, li1, [(-1.375,-1.91,-1.045,-1.58), (-0.875,-1.91,-0.545,-1.58), (0.795,-1.51,1.21,-1.18), (0.795,-1.51,1.125,-0.93), (1.21,-1.51,1.54,-1.18), (1.54,-1.51,1.955,-1.18), (1.625,-1.51,1.955,-0.93), (0.795,-0.93,1.125,1.07), (1.625,-0.93,1.955,1.07), (-1.955,1.07,-1.625,1.445), (-1.125,1.07,-0.795,1.875), (-0.295,1.07,0.035,1.445), (-1.875,1.275,-1.705,1.445), (-0.215,1.275,-0.045,1.445), (-1.045,1.705,-0.875,1.875)])
A(unnamed_779779da, mcon, -1.875, -0.735, 0.17, 0.17, 3, 5, 0.83, 0.36)
R(unnamed_779779da, mcon, [(-1.295,-1.83,-1.125,-1.66), (-0.795,-1.83,-0.625,-1.66), (-1.875,1.275,-1.705,1.445), (-0.215,1.275,-0.045,1.445), (-1.045,1.705,-0.875,1.875)])
A(unnamed_779779da, met1, -1.935, -0.93, 0.29, 2, 3, 1, 0.83, 0)
A(unnamed_779779da, met1, -1.935, -0.795, 0.29, 0.29, 3, 5, 0.83, 0.36)
R(unnamed_779779da, met1, [(-1.625,-1.91,-0.295,-1.58), (-1.355,-1.89,-1.065,-1.6), (-0.855,-1.89,-0.565,-1.6), (-1.935,1.215,-1.645,1.505), (-1.935,1.215,0.015,1.505), (-0.275,1.215,0.015,1.505), (-1.935,1.645,0.015,1.935), (-1.105,1.645,-0.815,1.935)])
R(unnamed_779779da, nsdm, [(-2.145,-1.06,0.225,1.2), (0.605,-1.06,2.145,1.2)])
R(unnamed_779779da, npc, [(-1.395,-1.93,-1.025,-1.56), (-1.395,-1.93,-0.525,-1.56), (-1.395,-1.93,-0.525,-1.56), (-0.895,-1.93,-0.525,-1.56), (1.19,-1.53,1.56,-1.16)])

c_route_36c0763e = lib.new_cell('c_route_36c0763e')
R(c_route_36c0763e, met1, [(-1.05,-1.51,-0.62,-1.08), (-1.05,-1.41,0.28,-1.08), (-1.05,8.79,-0.62,9.22), (-1.05,8.79,-0.12,9.12)])
R(c_route_36c0763e, via, [(-0.91,-1.37,-0.76,-1.22), (-0.91,8.93,-0.76,9.08)])
R(c_route_36c0763e, met2, [(-1,-1.46,-0.67,-1.13), (-1,-1.46,-0.67,9.17), (-1,8.84,-0.67,9.17)])
P(c_route_36c0763e, met2, [(-0.67,-1.46),(-0.67,-1.46),(-0.67,-1.13),(-0.67,-1.13)],
  [(-0.67,8.84),(-0.67,8.84),(-0.67,9.17),(-0.67,9.17)])

c_route_f8fbec62 = lib.new_cell('c_route_f8fbec62')
R(c_route_f8fbec62, met1, [(3.8,3.24,4.23,3.67), (3.8,3.24,5.525,3.57), (3.8,12.19,4.23,12.62), (3.8,12.29,4.73,12.62)])
R(c_route_f8fbec62, via, [(3.94,3.38,4.09,3.53), (3.94,12.33,4.09,12.48)])
R(c_route_f8fbec62, met2, [(3.85,3.29,4.18,3.62), (3.85,3.29,4.18,12.57), (3.85,12.24,4.18,12.57)])
P(c_route_f8fbec62, met2, [(4.18,3.29),(4.18,3.29),(4.18,3.62),(4.18,3.62)],
  [(4.18,12.24),(4.18,12.24),(4.18,12.57),(4.18,12.57)])

c_route_36d35e7d = lib.new_cell('c_route_36d35e7d')
R(c_route_36d35e7d, met1, [(7.39,-1.51,7.82,-1.08), (6.89,-1.41,7.82,-1.08), (6.89,8.79,7.82,9.12), (7.39,8.79,7.82,9.22)])
R(c_route_36d35e7d, via, [(7.53,-1.37,7.68,-1.22), (7.53,8.93,7.68,9.08)])
R(c_route_36d35e7d, met2, [(7.44,-1.46,7.77,-1.13), (7.44,-1.46,7.77,9.17), (7.44,8.84,7.77,9.17)])
P(c_route_36d35e7d, met2, [(7.77,-1.46),(7.77,-1.46),(7.77,-1.13),(7.77,-1.13)],
  [(7.77,8.84),(7.77,8.84),(7.77,9.17),(7.77,9.17)])

straight_route_af8f280c = lib.new_cell('straight_route_af8f280c')
R(straight_route_af8f280c, met1, [(2.75,0.715,7.2,1.005)])

c_route_0d625cfd = lib.new_cell('c_route_0d625cfd')
R(c_route_0d625cfd, met1, [(2.35,17.415,8.21,17.705), (7.78,17.415,8.21,17.845), (7.78,23.775,8.21,24.205), (7.28,23.915,8.21,24.205)])
R(c_route_0d625cfd, via, [(7.92,17.555,8.07,17.705), (7.92,23.915,8.07,24.065)])
R(c_route_0d625cfd, met2, [(7.83,17.465,8.16,17.795), (7.83,17.465,8.16,24.155), (7.83,23.825,8.16,24.155)])
P(c_route_0d625cfd, met2, [(8.16,17.465),(8.16,17.465),(8.16,17.795),(8.16,17.795)],
  [(8.16,23.825),(8.16,23.825),(8.16,24.155),(8.16,24.155)])

straight_route_7f7f05a2 = lib.new_cell('straight_route_7f7f05a2')
R(straight_route_7f7f05a2, met1, [(2.35,17.415,7.2,17.705)])

straight_route_dc52c400 = lib.new_cell('straight_route_dc52c400')
R(straight_route_dc52c400, met1, [(2.35,10.915,7.2,11.205)])

straight_route_ce5dee97 = lib.new_cell('straight_route_ce5dee97')
R(straight_route_ce5dee97, met1, [(1.75,7.365,4.075,7.655)])

c_route_ddb189c5 = lib.new_cell('c_route_ddb189c5')
R(c_route_ddb189c5, met1, [(7.7,1.005,8.13,1.435), (7.2,1.145,8.13,1.435), (7.2,11.345,8.13,11.635), (7.7,11.345,8.13,11.775)])
R(c_route_ddb189c5, via, [(7.84,1.145,7.99,1.295), (7.84,11.485,7.99,11.635)])
R(c_route_ddb189c5, met2, [(7.75,1.055,8.08,1.385), (7.75,1.055,8.08,11.725), (7.75,11.395,8.08,11.725)])
P(c_route_ddb189c5, met2, [(8.08,1.055),(8.08,1.055),(8.08,1.385),(8.08,1.385)],
  [(8.08,11.395),(8.08,11.395),(8.08,11.725),(8.08,11.725)])

c_route_47eb8737 = lib.new_cell('c_route_47eb8737')
R(c_route_47eb8737, met1, [(-1.36,1.005,-0.93,1.435), (-1.36,1.145,-0.03,1.435), (-1.36,11.345,-0.93,11.775), (-1.36,11.345,-0.43,11.635)])
R(c_route_47eb8737, via, [(-1.22,1.145,-1.07,1.295), (-1.22,11.485,-1.07,11.635)])
R(c_route_47eb8737, met2, [(-1.31,1.055,-0.98,1.385), (-1.31,1.055,-0.98,11.725), (-1.31,11.395,-0.98,11.725)])
P(c_route_47eb8737, met2, [(-0.98,1.055),(-0.98,1.055),(-0.98,1.385),(-0.98,1.385)],
  [(-0.98,11.395),(-0.98,11.395),(-0.98,11.725),(-0.98,11.725)])

c_route_b5f091ad = lib.new_cell('c_route_b5f091ad')
R(c_route_b5f091ad, met1, [(-1.41,7.795,-0.98,8.225), (-1.41,7.795,-0.13,8.085), (-1.41,24.205,-0.98,24.635), (-1.41,24.345,-0.48,24.635)])
R(c_route_b5f091ad, via, [(-1.27,7.935,-1.12,8.085), (-1.27,24.345,-1.12,24.495)])
R(c_route_b5f091ad, met2, [(-1.36,7.845,-1.03,8.175), (-1.36,7.845,-1.03,24.585), (-1.36,24.255,-1.03,24.585)])
P(c_route_b5f091ad, met2, [(-1.03,7.845),(-1.03,7.845),(-1.03,8.175),(-1.03,8.175)],
  [(-1.03,24.255),(-1.03,24.255),(-1.03,24.585),(-1.03,24.585)])

c_route_13b34a3b = lib.new_cell('c_route_13b34a3b')
R(c_route_13b34a3b, met1, [(4.075,7.795,5.005,8.085), (4.575,7.795,5.005,8.225), (4.575,17.705,5.005,18.135), (2.35,17.845,5.005,18.135)])
R(c_route_13b34a3b, via, [(4.715,7.935,4.865,8.085), (4.715,17.845,4.865,17.995)])
R(c_route_13b34a3b, met2, [(4.625,7.845,4.955,8.175), (4.625,7.845,4.955,18.085), (4.625,17.755,4.955,18.085)])
P(c_route_13b34a3b, met2, [(4.955,7.845),(4.955,7.845),(4.955,8.175),(4.955,8.175)],
  [(4.955,17.755),(4.955,17.755),(4.955,18.085),(4.955,18.085)])

c_route_08113f6e = lib.new_cell('c_route_08113f6e')
R(c_route_08113f6e, met1, [(7.165,6.795,8.13,7.085), (7.7,6.795,8.13,7.225), (7.7,17.705,8.13,18.135), (7.2,17.845,8.13,18.135)])
R(c_route_08113f6e, via, [(7.84,6.935,7.99,7.085), (7.84,17.845,7.99,17.995)])
R(c_route_08113f6e, met2, [(7.75,6.845,8.08,7.175), (7.75,6.845,8.08,18.085), (7.75,17.755,8.08,18.085)])
P(c_route_08113f6e, met2, [(8.08,6.845),(8.08,6.845),(8.08,7.175),(8.08,7.175)],
  [(8.08,17.755),(8.08,17.755),(8.08,18.085),(8.08,18.085)])

c_route_bf5ae695 = lib.new_cell('c_route_bf5ae695')
R(c_route_bf5ae695, met1, [(2.44,-1.39,8.13,-1.1), (7.7,-1.39,8.13,-0.96), (7.7,1.005,8.13,1.435), (7.2,1.145,8.13,1.435)])
R(c_route_bf5ae695, via, [(7.84,-1.25,7.99,-1.1), (7.84,1.145,7.99,1.295)])
R(c_route_bf5ae695, met2, [(7.75,-1.34,8.08,-1.01), (7.75,-1.34,8.08,1.385), (7.75,1.055,8.08,1.385)])
P(c_route_bf5ae695, met2, [(8.08,-1.34),(8.08,-1.34),(8.08,-1.01),(8.08,-1.01)],
  [(8.08,1.055),(8.08,1.055),(8.08,1.385),(8.08,1.385)])

c_route_61feb3d1 = lib.new_cell('c_route_61feb3d1')
R(c_route_61feb3d1, met1, [(-1.41,12.19,-0.98,12.62), (-1.41,12.29,-0.12,12.62), (-1.41,24.325,-0.98,24.755), (-1.41,24.325,-0.48,24.655)])
R(c_route_61feb3d1, via, [(-1.27,12.33,-1.12,12.48), (-1.27,24.465,-1.12,24.615)])
R(c_route_61feb3d1, met2, [(-1.36,12.24,-1.03,12.57), (-1.36,12.24,-1.03,24.705), (-1.36,24.375,-1.03,24.705)])
P(c_route_61feb3d1, met2, [(-1.03,12.24),(-1.03,12.24),(-1.03,12.57),(-1.03,12.57)],
  [(-1.03,24.375),(-1.03,24.375),(-1.03,24.705),(-1.03,24.705)])

c_route_ce6920c1 = lib.new_cell('c_route_ce6920c1')
R(c_route_ce6920c1, met1, [(2.35,17.825,7.9,18.155), (7.47,17.825,7.9,18.255), (7.47,18.69,7.9,19.12), (6.97,18.79,7.9,19.12)])
R(c_route_ce6920c1, via, [(7.61,17.965,7.76,18.115), (7.61,18.83,7.76,18.98)])
R(c_route_ce6920c1, met2, [(7.52,17.875,7.85,18.205), (7.52,17.875,7.85,19.07), (7.52,18.74,7.85,19.07)])
P(c_route_ce6920c1, met2, [(7.85,17.875),(7.85,17.875),(7.85,18.205),(7.85,18.205)],
  [(7.85,18.74),(7.85,18.74),(7.85,19.07),(7.85,19.07)])

unnamed_0bab44e9 = lib.new_cell('Unnamed_0bab44e9')
unnamed_0bab44e9.add(gdstk.Reference(unnamed_437017c1, (6.77,0)))
unnamed_0bab44e9.add(gdstk.Reference(unnamed_8c51c6d4, (0.4,0)))
unnamed_0bab44e9.add(gdstk.Reference(unnamed_5b6dac4b, (3.4,21.7)))
unnamed_0bab44e9.add(gdstk.Reference(unnamed_7eadcfe6, (0,15.2)))
unnamed_0bab44e9.add(gdstk.Reference(unnamed_24d898cb, (6.77,15.2)))
unnamed_0bab44e9.add(gdstk.Reference(unnamed_885ce8a8, (6.77,10.2)))
unnamed_0bab44e9.add(gdstk.Reference(unnamed_369809fc, (0,10.2)))
unnamed_0bab44e9.add(gdstk.Reference(unnamed_5aa869f9, (0,5.15)))
unnamed_0bab44e9.add(gdstk.Reference(unnamed_cba84e64, (3.4,5.15)))
unnamed_0bab44e9.add(gdstk.Reference(unnamed_779779da, (7.15,5.15)))
unnamed_0bab44e9.add(gdstk.Reference(c_route_36c0763e, (0,0)))
unnamed_0bab44e9.add(gdstk.Reference(c_route_f8fbec62, (0,0)))
unnamed_0bab44e9.add(gdstk.Reference(c_route_36d35e7d, (0,0)))
unnamed_0bab44e9.add(gdstk.Reference(straight_route_af8f280c, (0,0)))
unnamed_0bab44e9.add(gdstk.Reference(c_route_0d625cfd, (0,0)))
unnamed_0bab44e9.add(gdstk.Reference(straight_route_7f7f05a2, (0,0)))
unnamed_0bab44e9.add(gdstk.Reference(straight_route_dc52c400, (0,0)))
unnamed_0bab44e9.add(gdstk.Reference(straight_route_ce5dee97, (0,0)))
unnamed_0bab44e9.add(gdstk.Reference(c_route_ddb189c5, (0,0)))
unnamed_0bab44e9.add(gdstk.Reference(c_route_47eb8737, (0,0)))
unnamed_0bab44e9.add(gdstk.Reference(c_route_b5f091ad, (0,0)))
unnamed_0bab44e9.add(gdstk.Reference(c_route_13b34a3b, (0,0)))
unnamed_0bab44e9.add(gdstk.Reference(c_route_08113f6e, (0,0)))
unnamed_0bab44e9.add(gdstk.Reference(c_route_bf5ae695, (0,0)))
unnamed_0bab44e9.add(gdstk.Reference(c_route_61feb3d1, (0,0)))
unnamed_0bab44e9.add(gdstk.Reference(c_route_ce6920c1, (0,0)))

lib.write_gds('Unnamed_0bab44e9.gds')
